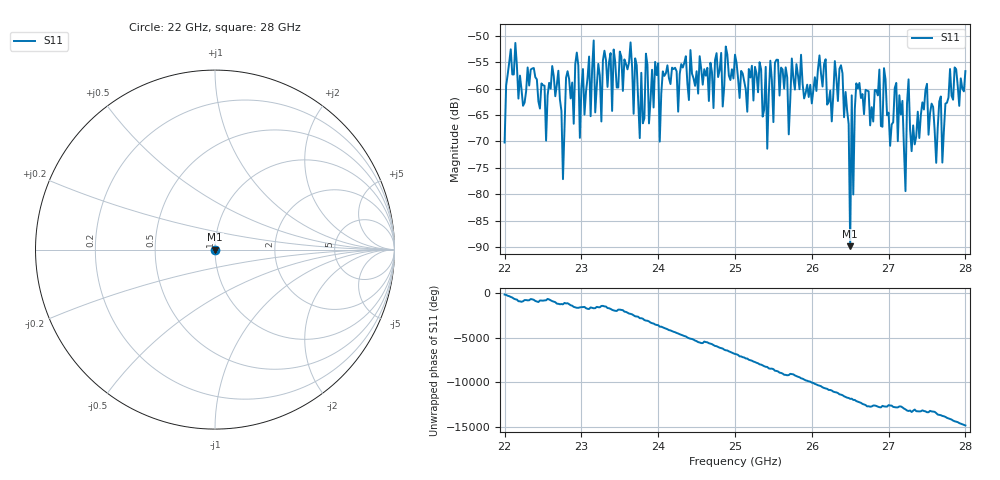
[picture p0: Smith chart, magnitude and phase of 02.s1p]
#  HZ  S  RI  R  50.00
! Rohde & Schwarz ZVA40 4Ports - Version 3.90 - 1145.1110k42 SN: 100403
! Date: 2023-10-04 09:37:35
! Measurement: S12
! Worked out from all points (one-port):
!   301 points, 22 GHz to 28 GHz, reference 50 ohm
!   lowest |S11| = -89.8 dB at 26.5 GHz (marker M1), VSWR 1.00, Z = 50 + j0.00109 ohm
!   |S11| at or under -10 dB: start of sweep to end of sweep
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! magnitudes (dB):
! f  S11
! 22 GHz  -70.2
! 22.08 GHz  -52.6
! 22.54 GHz  -69.8
! 22.62 GHz  -55.7
! 22.76 GHz  -77.1
! 22.82 GHz  -56.7
! 22.94 GHz  -53.2
! 22.98 GHz  -69.3
! 23.16 GHz  -50.9
! 23.26 GHz  -66.2
! 23.5 GHz  -53.0
! 24.26 GHz  -64.4
! 25 GHz  -53.6
! 25.4 GHz  -55.9
! 25.42 GHz  -71.4
! 25.46 GHz  -54.7
! 25.76 GHz  -58.0
! 26.38 GHz  -55.6
! 26.5 GHz  -89.8
! 26.52 GHz  -61.3
! 26.54 GHz  -80.0
! 26.58 GHz  -59.0
! 26.94 GHz  -56.1
! 27.18 GHz  -62.3
! 27.22 GHz  -79.4
! 27.26 GHz  -58.3
! 27.7 GHz  -74.0
! 28 GHz  -56.7
